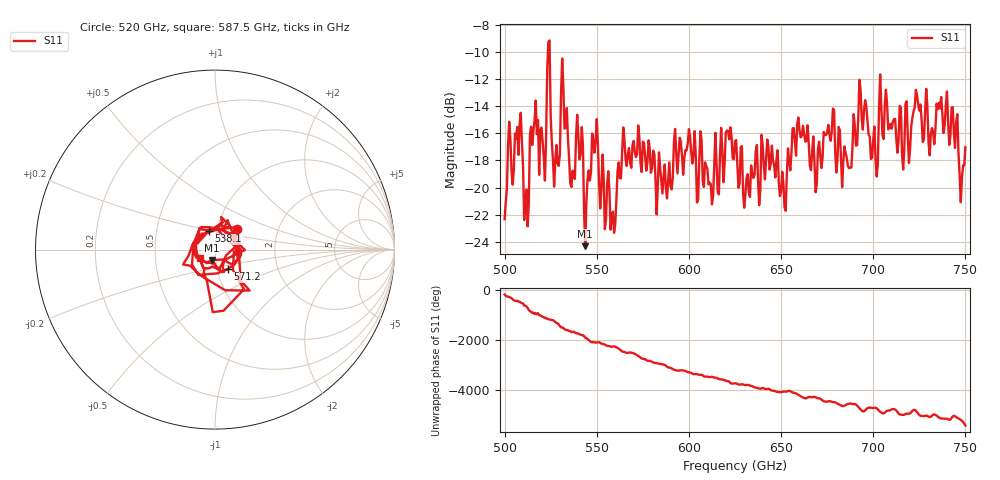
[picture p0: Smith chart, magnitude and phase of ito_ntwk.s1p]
!Created with skrf (http://scikit-rf.org).
# GHz S RI R 50.0
!freq ReS11 ImS11
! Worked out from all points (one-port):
!   401 points, 500 GHz to 750 GHz, reference 50 ohm
!   lowest |S11| = -24.3 dB at 543.8 GHz (marker M1), VSWR 1.13, Z = 47.8 - j5.52 ohm
!   |S11| at or under -10 dB: start of sweep to 523.5 GHz; 524.5 GHz to end of sweep
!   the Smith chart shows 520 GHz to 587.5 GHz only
!   S11 on the Smith chart (normalised r, x): 520 GHz: 1.24, +0.29; 538.1 GHz: 0.92, +0.19; 571.2 GHz: 1.12, -0.25; 587.5 GHz: 0.84, -0.08
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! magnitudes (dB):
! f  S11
! 500 GHz  -22.3
! 507.5 GHz  -17.6
! 511.9 GHz  -20.2
! 515.6 GHz  -15.8
! 520 GHz  -15.6
! 523.8 GHz  -9.3
! 527.5 GHz  -18.0
! 531.2 GHz  -10.5
! 538.1 GHz  -19.4
! 540.6 GHz  -17.9
! 543.8 GHz  -24.3
! 548.8 GHz  -17.4
! 558.8 GHz  -21.8
! 562.5 GHz  -19.3
! 571.2 GHz  -17.8
! 587.5 GHz  -20.1
! 593.8 GHz  -19.0
! 611.9 GHz  -19.7
! 625 GHz  -16.6
! 651.2 GHz  -19.7
! 656.2 GHz  -15.6
! 687.5 GHz  -18.5
! 693.8 GHz  -14.9
! 701.2 GHz  -17.9
! 704.4 GHz  -14.1
! 718.8 GHz  -16.3
! 735.6 GHz  -13.8
! 750 GHz  -17.0
